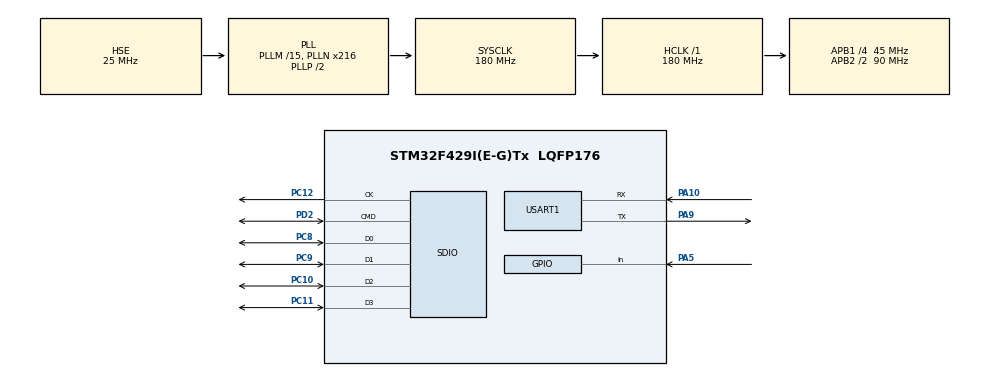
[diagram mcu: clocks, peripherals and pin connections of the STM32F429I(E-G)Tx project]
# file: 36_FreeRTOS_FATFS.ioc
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Dma.Request0=SDIO_TX
Dma.Request1=SDIO_RX
Dma.SDIO_RX.1.Direction=DMA_PERIPH_TO_MEMORY
Dma.SDIO_RX.1.FIFOMode=DMA_FIFOMODE_ENABLE
Dma.SDIO_RX.1.FIFOThreshold=DMA_FIFO_THRESHOLD_FULL
Dma.SDIO_RX.1.Instance=DMA2_Stream6
Dma.SDIO_RX.1.MemBurst=DMA_MBURST_INC4
Dma.SDIO_RX.1.MemDataAlignment=DMA_MDATAALIGN_WORD
Dma.SDIO_RX.1.MemInc=DMA_MINC_ENABLE
Dma.SDIO_RX.1.Mode=DMA_PFCTRL
Dma.SDIO_RX.1.PeriphBurst=DMA_PBURST_INC4
Dma.SDIO_RX.1.PeriphDataAlignment=DMA_PDATAALIGN_WORD
Dma.SDIO_RX.1.PeriphInc=DMA_PINC_DISABLE
Dma.SDIO_RX.1.Priority=DMA_PRIORITY_VERY_HIGH
Dma.SDIO_TX.0.Direction=DMA_MEMORY_TO_PERIPH
Dma.SDIO_TX.0.FIFOMode=DMA_FIFOMODE_ENABLE
Dma.SDIO_TX.0.FIFOThreshold=DMA_FIFO_THRESHOLD_FULL
Dma.SDIO_TX.0.Instance=DMA2_Stream3
Dma.SDIO_TX.0.MemBurst=DMA_MBURST_INC4
Dma.SDIO_TX.0.MemDataAlignment=DMA_MDATAALIGN_WORD
Dma.SDIO_TX.0.MemInc=DMA_MINC_ENABLE
Dma.SDIO_TX.0.Mode=DMA_PFCTRL
Dma.SDIO_TX.0.PeriphBurst=DMA_PBURST_INC4
Dma.SDIO_TX.0.PeriphDataAlignment=DMA_PDATAALIGN_WORD
Dma.SDIO_TX.0.PeriphInc=DMA_PINC_DISABLE
Dma.SDIO_TX.0.Priority=DMA_PRIORITY_VERY_HIGH
FATFS.BSP.number=1
FATFS.USE_DMA_CODE_SD=1
FATFS._CODE_PAGE=936
FATFS._FS_EXFAT=1
FATFS._FS_LOCK=5
FATFS._USE_LFN=2
FATFS0.BSP.STBoard=false
FATFS0.BSP.api=Unknown
FATFS0.BSP.i2caddr=0
FATFS0.BSP.instance=PA5
FATFS0.BSP.ip=GPIO
FATFS0.BSP.mode=Input
FATFS0.BSP.name=Detect_SDIO
FATFS0.BSP.solution=PA5
FREERTOS.Tasks01=defaultTask,0,2048,StartDefaultTask,Default,NULL,Dynamic,NULL,NULL
FREERTOS.configMINIMAL_STACK_SIZE=256
FREERTOS.configTOTAL_HEAP_SIZE=15360
Mcu.Family=STM32F4
Mcu.Name=STM32F429I(E-G)Tx
Mcu.Package=LQFP176
NVIC.DMA2_Stream3_IRQn=true\:5\:0\:true\:false\:true\:false\:true
NVIC.DMA2_Stream6_IRQn=true\:5\:0\:true\:false\:true\:false\:true
NVIC.PriorityGroup=NVIC_PRIORITYGROUP_4
NVIC.SDIO_IRQn=true\:5\:0\:true\:false\:true\:true\:true
NVIC.TIM6_DAC_IRQn=true\:0\:0\:false\:false\:true\:false\:true
NVIC.TimeBase=TIM6_DAC_IRQn
NVIC.TimeBaseIP=TIM6
PA10.Mode=Asynchronous
PA10.Signal=USART1_RX
PA13.Mode=Trace_Asynchronous_SW
PA13.Signal=SYS_JTMS-SWDIO
PA14.Mode=Trace_Asynchronous_SW
PA14.Signal=SYS_JTCK-SWCLK
PA5.Signal=GPIO_Input
PA9.Mode=Asynchronous
PA9.Signal=USART1_TX
PB3.Mode=Trace_Asynchronous_SW
PB3.Signal=SYS_JTDO-SWO
PC10.GPIO_PuPd=GPIO_PULLUP
PC10.Mode=SD_4_bits_Wide_bus
PC10.Signal=SDIO_D2
PC11.GPIO_PuPd=GPIO_PULLUP
PC11.Mode=SD_4_bits_Wide_bus
PC11.Signal=SDIO_D3
PC12.GPIO_PuPd=GPIO_PULLUP
PC12.Mode=SD_4_bits_Wide_bus
PC12.Signal=SDIO_CK
PC14/OSC32_IN.Mode=LSE-External-Oscillator
PC14/OSC32_IN.Signal=RCC_OSC32_IN
PC15/OSC32_OUT.Mode=LSE-External-Oscillator
PC15/OSC32_OUT.Signal=RCC_OSC32_OUT
PC8.GPIO_PuPd=GPIO_PULLUP
PC8.Mode=SD_4_bits_Wide_bus
PC8.Signal=SDIO_D0
PC9.GPIO_PuPd=GPIO_PULLUP
PC9.Mode=SD_4_bits_Wide_bus
PC9.Signal=SDIO_D1
PD2.GPIO_PuPd=GPIO_PULLUP
PD2.Mode=SD_4_bits_Wide_bus
PD2.Signal=SDIO_CMD
PH0/OSC_IN.Mode=HSE-External-Oscillator
PH0/OSC_IN.Signal=RCC_OSC_IN
PH1/OSC_OUT.Mode=HSE-External-Oscillator
PH1/OSC_OUT.Signal=RCC_OSC_OUT
ProjectManager.HeapSize=0x1000
ProjectManager.StackSize=0x1000
ProjectManager.TargetToolchain=STM32CubeIDE
RCC.48MHZClocksFreq_Value=45000000
RCC.AHBFreq_Value=180000000
RCC.APB1CLKDivider=RCC_HCLK_DIV4
RCC.APB1Freq_Value=45000000
RCC.APB1TimFreq_Value=90000000
RCC.APB2CLKDivider=RCC_HCLK_DIV2
RCC.APB2Freq_Value=90000000
RCC.APB2TimFreq_Value=180000000
RCC.CortexFreq_Value=180000000
RCC.HCLKFreq_Value=180000000
RCC.HSE_VALUE=25000000
RCC.HSI_VALUE=16000000
RCC.PLLM=15
RCC.PLLN=216
RCC.PLLQ=8
RCC.PLLSourceVirtual=RCC_PLLSOURCE_HSE
RCC.SYSCLKFreq_VALUE=180000000
RCC.SYSCLKSource=RCC_SYSCLKSOURCE_PLLCLK
RCC.VCOOutputFreq_Value=360000000
SDIO.ClockDiv=6
USART1.VirtualMode=VM_ASYNC
VP_FATFS_VS_SDIO.Mode=SDIO
VP_FREERTOS_VS_CMSIS_V1.Mode=CMSIS_V1
VP_SYS_VS_tim6.Mode=TIM6
board=custom

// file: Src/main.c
/* USER CODE BEGIN Header */
/**
 ******************************************************************************
 * @file           : main.c
 * @brief          : Main program body
 ******************************************************************************
 * @attention
 *
 * <h2><center>&copy; Copyright (c) 2019 STMicroelectronics.
 * All rights reserved.</center></h2>
 *
 * This software component is licensed by ST under BSD 3-Clause license,
 * the "License"; You may not use this file except in compliance with the
 * License. You may obtain a copy of the License at:
 *                        opensource.org/licenses/BSD-3-Clause
 *
 ******************************************************************************
 */
/* USER CODE END Header */

#include "main.h"
#include "cmsis_os.h"
#include "dma.h"
#include "fatfs.h"
#include "sdio.h"
#include "usart.h"
#include "gpio.h"

/* USER CODE BEGIN Includes */
#include <stdio.h>
/* USER CODE END Includes */

/* USER CODE BEGIN PTD */
#ifdef __GNUC__
#define PUTCHAR_PROTOTYPE int __io_putchar(int ch)
#else
#define PUTCHAR_PROTOTYPE int fputc(int ch, FILE *f)
#endif
PUTCHAR_PROTOTYPE
{
    while ((USART1->SR & 0X40) == 0);
    USART1->DR = (uint8_t) ch;
    return ch;
}
/* USER CODE END PTD */

void SystemClock_Config(void);
void MX_FREERTOS_Init(void);

int main(void)
{

  /* MCU Configuration--------------------------------------------------------*/

  /* Reset of all peripherals, Initializes the Flash interface and the Systick. */
  HAL_Init();

  /* Configure the system clock */
  SystemClock_Config();

  /* Initialize all configured peripherals */
  MX_GPIO_Init();
  MX_DMA_Init();
  MX_USART1_UART_Init();
  MX_SDIO_SD_Init();
  /* USER CODE BEGIN 2 */
    printf ("Start\r\n");

  /* USER CODE END 2 */

  /* Call init function for freertos objects (in freertos.c) */
  MX_FREERTOS_Init();

  /* Start scheduler */
  osKernelStart();

  /* We should never get here as control is now taken by the scheduler */

  /* Infinite loop */
    while (1)
    {

    }
}

void SystemClock_Config(void)
{
  RCC_OscInitTypeDef RCC_OscInitStruct = {0};
  RCC_ClkInitTypeDef RCC_ClkInitStruct = {0};

  /** Configure the main internal regulator output voltage
  */
  __HAL_RCC_PWR_CLK_ENABLE();
  __HAL_PWR_VOLTAGESCALING_CONFIG(PWR_REGULATOR_VOLTAGE_SCALE1);
  /** Initializes the CPU, AHB and APB busses clocks
  */
  RCC_OscInitStruct.OscillatorType = RCC_OSCILLATORTYPE_HSE;
  RCC_OscInitStruct.HSEState = RCC_HSE_ON;
  RCC_OscInitStruct.PLL.PLLState = RCC_PLL_ON;
  RCC_OscInitStruct.PLL.PLLSource = RCC_PLLSOURCE_HSE;
  RCC_OscInitStruct.PLL.PLLM = 15;
  RCC_OscInitStruct.PLL.PLLN = 216;
  RCC_OscInitStruct.PLL.PLLP = RCC_PLLP_DIV2;
  RCC_OscInitStruct.PLL.PLLQ = 8;
  if (HAL_RCC_OscConfig(&RCC_OscInitStruct) != HAL_OK)
  {
    Error_Handler();
  }
  /** Activate the Over-Drive mode
  */
  if (HAL_PWREx_EnableOverDrive() != HAL_OK)
  {
    Error_Handler();
  }
  /** Initializes the CPU, AHB and APB busses clocks
  */
  RCC_ClkInitStruct.ClockType = RCC_CLOCKTYPE_HCLK|RCC_CLOCKTYPE_SYSCLK
                              |RCC_CLOCKTYPE_PCLK1|RCC_CLOCKTYPE_PCLK2;
  RCC_ClkInitStruct.SYSCLKSource = RCC_SYSCLKSOURCE_PLLCLK;
  RCC_ClkInitStruct.AHBCLKDivider = RCC_SYSCLK_DIV1;
  RCC_ClkInitStruct.APB1CLKDivider = RCC_HCLK_DIV4;
  RCC_ClkInitStruct.APB2CLKDivider = RCC_HCLK_DIV2;

  if (HAL_RCC_ClockConfig(&RCC_ClkInitStruct, FLASH_LATENCY_5) != HAL_OK)
  {
    Error_Handler();
  }
}

/* USER CODE BEGIN 4 */

//int _write(int file, char *ptr, int len) {
//	int DataIdx;
//	for (DataIdx = 0; DataIdx < len; DataIdx++) {
//		ITM_SendChar(*ptr++);
//	}
//	return len;
//}
/* USER CODE END 4 */

void HAL_TIM_PeriodElapsedCallback(TIM_HandleTypeDef *htim)
{
  if (htim->Instance == TIM6) {
    HAL_IncTick();
  }
}

void Error_Handler(void)
{
}

/************************ (C) COPYRIGHT STMicroelectronics *****END OF FILE****/

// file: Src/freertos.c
/* USER CODE BEGIN Header */
/**
 ******************************************************************************
 * File Name          : freertos.c
 * Description        : Code for freertos applications
 ******************************************************************************
 * @attention
 *
 * <h2><center>&copy; Copyright (c) 2020 STMicroelectronics.
 * All rights reserved.</center></h2>
 *
 * This software component is licensed by ST under Ultimate Liberty license
 * SLA0044, the "License"; You may not use this file except in compliance with
 * the License. You may obtain a copy of the License at:
 *                             www.st.com/SLA0044
 *
 ******************************************************************************
 */
/* USER CODE END Header */

#include "FreeRTOS.h"
#include "task.h"
#include "main.h"
#include "cmsis_os.h"

/* USER CODE BEGIN Includes */
#include "fatfs.h"
#include <stdio.h>

/* USER CODE END Includes */

/* USER CODE BEGIN Variables */

extern FATFS SDFatFS; /* File system object for SD logical drive */
extern FIL SDFile; /* File object for SD */
extern char SDPath[4];

FRESULT scan_files (char*path) /* Start node to be scanned (also used as work area) */
{
    FRESULT res;
    FILINFO fno;
    DIR dir;
    int i;
    char *fn; /* This function is assuming non-Unicode cfg. */
    res = f_opendir (&dir, path); /* Open the directory */
    if (res == FR_OK)
    {
	i = strlen (path);
	for (;;)
	{
	    res = f_readdir (&dir, &fno); /* Read a directory item */
	    if (res != FR_OK)
	    {
		break; /* Break on error or end of dir */
	    }
	    else if (fno.fname[0] == 0)
	    {
		printf ("%s\r\n", path);
		break;
	    }
	    fn = fno.fname;
	    if (fno.fattrib & AM_DIR)
	    { /* It is a directory */
		sprintf (&path[i], "/%s", fn);
		res = scan_files (path);
		if (res != FR_OK)
		    break;
		path[i] = 0;
	    }
	    else
	    { /* It is a file. */
		printf ("%s/%s\r\n", path, fn);
	    }
	}
    }
    else
    {
	printf("error\r\n");
    }
    return res;
}
/* USER CODE END Variables */
osThreadId defaultTaskHandle;

void StartDefaultTask (void const*argument);

extern void MX_FATFS_Init (void);
void MX_FREERTOS_Init (void); /* (MISRA C 2004 rule 8.1) */

/* GetIdleTaskMemory prototype (linked to static allocation support) */
void vApplicationGetIdleTaskMemory (StaticTask_t**ppxIdleTaskTCBBuffer,StackType_t**ppxIdleTaskStackBuffer,uint32_t*pulIdleTaskStackSize);

/* USER CODE BEGIN GET_IDLE_TASK_MEMORY */
static StaticTask_t xIdleTaskTCBBuffer;
static StackType_t xIdleStack[configMINIMAL_STACK_SIZE];

void vApplicationGetIdleTaskMemory (StaticTask_t**ppxIdleTaskTCBBuffer,StackType_t**ppxIdleTaskStackBuffer,uint32_t*pulIdleTaskStackSize)
{
    *ppxIdleTaskTCBBuffer = &xIdleTaskTCBBuffer;
    *ppxIdleTaskStackBuffer = &xIdleStack[0];
    *pulIdleTaskStackSize = configMINIMAL_STACK_SIZE;
    /* place for user code */
}
/* USER CODE END GET_IDLE_TASK_MEMORY */

void MX_FREERTOS_Init (void)
{

    /* Create the thread(s) */
    /* definition and creation of defaultTask */
    osThreadDef(defaultTask, StartDefaultTask, osPriorityNormal, 0, 2048);
    defaultTaskHandle = osThreadCreate (osThread(defaultTask), NULL);

}

void StartDefaultTask (void const*argument)
{

    /* init code for FATFS */
    MX_FATFS_Init ();

    /* USER CODE BEGIN StartDefaultTask */

    if (f_mount (&SDFatFS, (TCHAR const*) SDPath, 0) != FR_OK)
    {
	/* FatFs Initialization Error */
	Error_Handler ();
    }
    else
    {
	scan_files (SDPath);

    }

    /* Infinite loop */
    for (;;)
    {
	osDelay (1);
    }
    /* USER CODE END StartDefaultTask */
}

/************************ (C) COPYRIGHT STMicroelectronics *****END OF FILE****/
